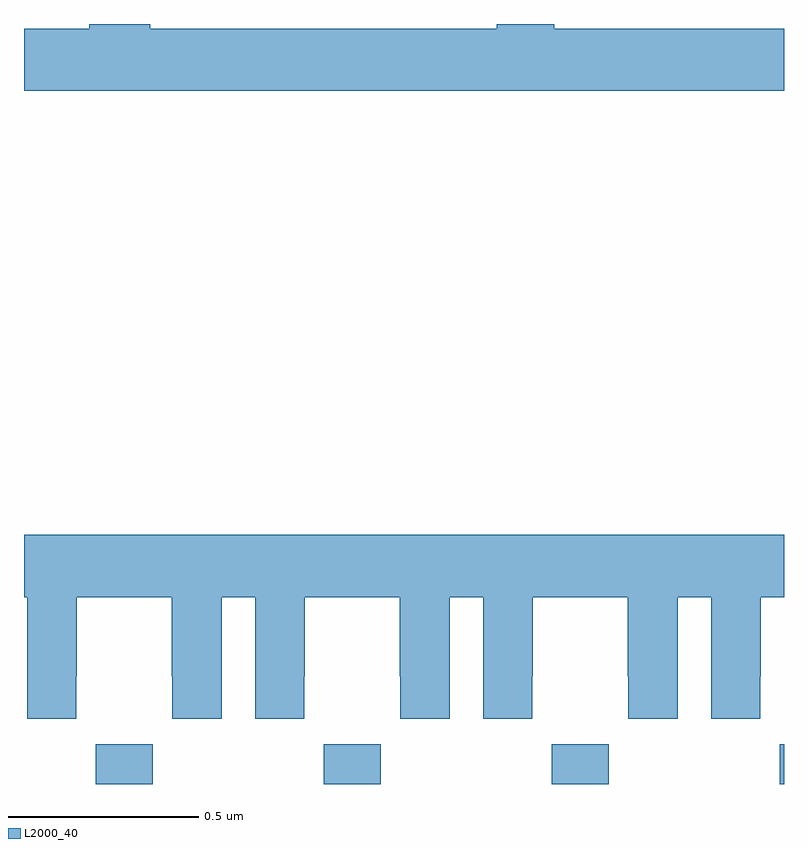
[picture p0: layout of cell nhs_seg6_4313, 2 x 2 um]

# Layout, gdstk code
import gdstk
lib = gdstk.Library(unit=1e-6, precision=1e-09)
def R(c, l, rs):  # rectangles x0, y0, x1, y1
    for r in rs: c.add(gdstk.rectangle(r[:2], r[2:], *l))
def A(c, l, x, y, w, h, nx, ny, dx, dy):  # array of equal rectangles
    R(c, l, [(x+i*dx, y+j*dy, x+i*dx+w, y+j*dy+h) for i in range(nx) for j in range(ny)])
def P(c, l, *ps):  # polygons
    for p in ps: c.add(gdstk.Polygon(p, *l))
L2000_40 = (2000, 40)

nhs_seg6_4313 = lib.new_cell('nhs_seg6_4313')
A(nhs_seg6_4313, L2000_40, 168.189, 957.5, 0.15, 0.104, 3, 1, 0.6, 0)
R(nhs_seg6_4313, L2000_40, [(169.989,957.5,170,957.604)])
P(nhs_seg6_4313, L2000_40, [(170,959.488),(169.396,959.488),(169.396,959.5),(169.244,959.5),(169.244,959.488),(168.332,959.488),(168.332,959.5),(168.172,959.5),(168.172,959.488),(168,959.488),(168,959.324),(170,959.324)],
  [(168.138,957.784),(168.139,957.784),(168.139,957.992),(168.389,957.992),(168.389,957.784),(168.39,957.784),(168.39,957.672),(168.52,957.672),(168.52,957.992),(168.608,957.992),(168.608,957.672),(168.738,957.672),(168.738,957.784),(168.739,957.784),(168.739,957.992),(168.989,957.992),(168.989,957.784),(168.99,957.784),(168.99,957.672),(169.12,957.672),(169.12,957.992),(169.208,957.992),(169.208,957.672),(169.338,957.672),(169.338,957.784),(169.339,957.784),(169.339,957.992),(169.589,957.992),(169.589,957.784),(169.59,957.784),(169.59,957.672),(169.72,957.672),(169.72,957.992),(169.808,957.992),(169.808,957.672),(169.938,957.672),(169.938,957.784),(169.939,957.784),(169.939,957.992),(170,957.992),(170,958.156),(168,958.156),(168,957.992),(168.008,957.992),(168.008,957.672),(168.138,957.672)])

lib.write_gds('nhs_seg6_4313.gds')
